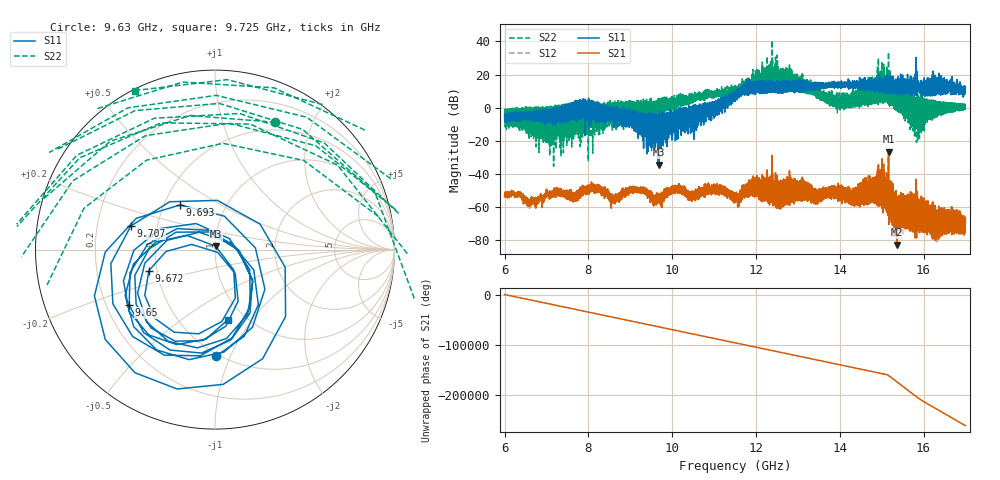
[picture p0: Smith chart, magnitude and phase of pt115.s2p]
#  HZ  S  RI  R  50.00
! Rohde & Schwarz Vector Network Analyzer
! Rohde-Schwarz,ZNA67-2Port,1332450062101215,3.01
! Created: UTC 10/19/2026, 3:22:36 PM
! freq[Hz]  re:S11  im:S11  re:S21  im:S21  re:S12  im:S12  re:S22  im:S22
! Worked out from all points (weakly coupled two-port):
!   11001 points, 6 GHz to 17 GHz, reference 50 ohm
!   highest |S21| = -26.50 dB at 15.16 GHz (marker M1); lowest = -82.5 dB at 15.37 GHz (marker M2)
!   lowest |S11| = -34.3 dB at 9.68 GHz (marker M3), VSWR 1.04, Z = 50.4 + j1.9 ohm
!   |S11| at or under -10 dB: 9.257936 GHz to 9.261188 GHz (3.252 MHz wide, 0.0351 % of centre); 9.537976 GHz to 9.542046 GHz (4.07 MHz wide, 0.0427 % of centre); 9.666995 GHz to 9.671421 GHz (4.427 MHz wide, 0.0458 % of centre) (the widest 3 of 146)
!   |S22| runs from -35.3 to 40.6 dB; largest |S21 - S12| = 0.0024
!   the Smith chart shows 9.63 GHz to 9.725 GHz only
!   S11 on the Smith chart (normalised r, x): 9.63 GHz: 0.48, -0.89; 9.65 GHz: 0.30, -0.27; 9.672 GHz: 0.45, -0.12; 9.693 GHz: 0.60, +0.33; 9.707 GHz: 0.35, +0.12; 9.725 GHz: 0.83, -0.77
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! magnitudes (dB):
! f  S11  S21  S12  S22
! 6 GHz  -4.7  -53.6  -54.0  -2.1
! 6.598 GHz  -6.5  -55.9  -56.3  -13.5
! 7.834 GHz  -5.3  -52.1  -52.0  -8.0
! 9.292 GHz  -7.2  -50.1  -50.1  -7.9
! 9.63 GHz  -4.5  -54.9  -55.3  -2.1
! 9.65 GHz  -4.9  -54.5  -54.8  4.1
! 9.667 GHz  -10.0  -55.1  -55.1  -4.0
! 9.672 GHz  -8.3  -52.1  -52.4  3.1
! 9.68 GHz  -34.3  -56.5  -56.6  1.8
! 9.693 GHz  -10.0  -54.2  -55.1  2.4
! 9.707 GHz  -6.3  -54.0  -54.5  5.1
! 9.725 GHz  -8.0  -54.9  -55.4  -0.1
! 10.13 GHz  -9.6  -50.9  -50.8  1.3
! 11.5 GHz  5.5  -53.7  -53.5  9.2
! 11.89 GHz  9.6  -44.4  -44.3  16.7
! 12.49 GHz  12.1  -59.7  -59.4  11.1
! 13.33 GHz  11.9  -54.2  -54.1  9.2
! 13.99 GHz  15.0  -48.0  -48.3  6.8
! 15.16 GHz  14.2  -26.5  -26.8  33.5
! 15.17 GHz  10.9  -61.7  -61.5  3.7
! 15.37 GHz  10.8  -82.5  -83.4  -0.3
! 17 GHz  11.5  -69.4  -69.0  1.4
